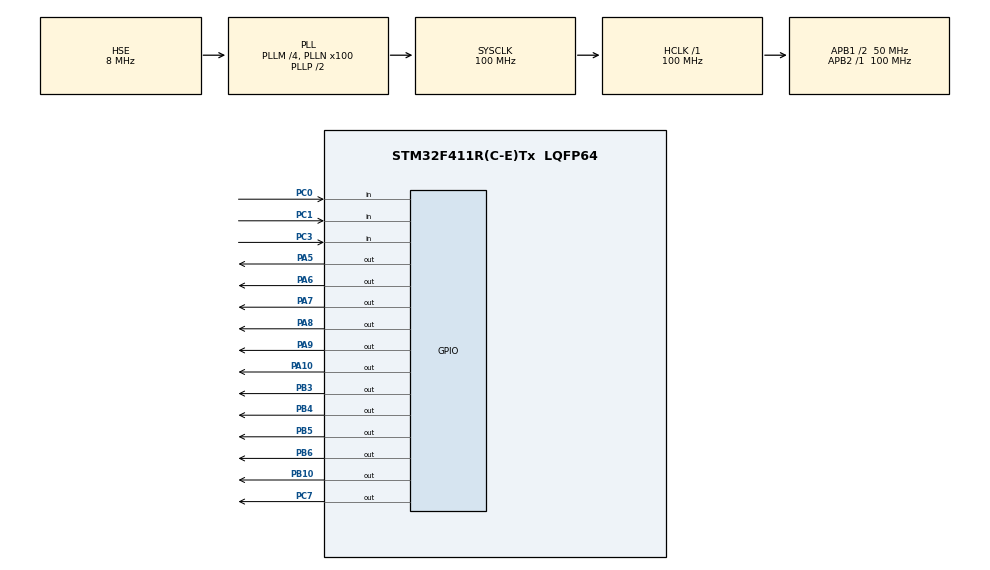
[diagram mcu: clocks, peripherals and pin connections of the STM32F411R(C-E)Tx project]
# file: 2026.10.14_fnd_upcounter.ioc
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Mcu.Family=STM32F4
Mcu.Name=STM32F411R(C-E)Tx
Mcu.Package=LQFP64
NVIC.PriorityGroup=NVIC_PRIORITYGROUP_4
PA10.Signal=GPIO_Output
PA5.Signal=GPIO_Output
PA6.Signal=GPIO_Output
PA7.Signal=GPIO_Output
PA8.Signal=GPIO_Output
PA9.Signal=GPIO_Output
PB10.Signal=GPIO_Output
PB3.Signal=GPIO_Output
PB4.Signal=GPIO_Output
PB5.Signal=GPIO_Output
PB6.Signal=GPIO_Output
PC0.Signal=GPIO_Input
PC1.Signal=GPIO_Input
PC3.Signal=GPIO_Input
PC7.Signal=GPIO_Output
PH0\ -\ OSC_IN.Mode=HSE-External-Oscillator
PH0\ -\ OSC_IN.Signal=RCC_OSC_IN
PH1\ -\ OSC_OUT.Mode=HSE-External-Oscillator
PH1\ -\ OSC_OUT.Signal=RCC_OSC_OUT
ProjectManager.HeapSize=0x200
ProjectManager.StackSize=0x400
ProjectManager.TargetToolchain=STM32CubeIDE
RCC.48MHZClocksFreq_Value=50000000
RCC.AHBFreq_Value=100000000
RCC.APB1CLKDivider=RCC_HCLK_DIV2
RCC.APB1Freq_Value=50000000
RCC.APB1TimFreq_Value=100000000
RCC.APB2Freq_Value=100000000
RCC.APB2TimFreq_Value=100000000
RCC.CortexFreq_Value=100000000
RCC.HCLKFreq_Value=100000000
RCC.HSE_VALUE=8000000
RCC.HSI_VALUE=16000000
RCC.LSE_VALUE=32768
RCC.PLLM=4
RCC.PLLN=100
RCC.PLLSourceVirtual=RCC_PLLSOURCE_HSE
RCC.SYSCLKFreq_VALUE=100000000
RCC.SYSCLKSource=RCC_SYSCLKSOURCE_PLLCLK
RCC.VCOOutputFreq_Value=200000000
board=custom

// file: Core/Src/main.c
/* USER CODE BEGIN Header */
/**
 ******************************************************************************
 * @file           : main.c
 * @brief          : Main program body
 ******************************************************************************
 * @attention
 *
 * Copyright (c) 2026 STMicroelectronics.
 * All rights reserved.
 *
 * This software is licensed under terms that can be found in the LICENSE file
 * in the root directory of this software component.
 * If no LICENSE file comes with this software, it is provided AS-IS.
 *
 ******************************************************************************
 */
/* USER CODE END Header */
#include "main.h"

/* USER CODE BEGIN Includes */
#include "driver/fnd/fnd.h"
/* USER CODE END Includes */

/* USER CODE BEGIN PTD */
enum {RUN, STOP, CLEAR};
/* USER CODE END PTD */

/* USER CODE BEGIN PD */
#define BTN1_GPIO	GPIOC
#define BTN1_PIN	GPIO_PIN_0
#define BTN2_GPIO	GPIOC
#define BTN2_PIN	GPIO_PIN_1
#define BTN3_GPIO	GPIOC
#define BTN3_PIN	GPIO_PIN_3
/* USER CODE END PD */

void SystemClock_Config(void);
static void MX_GPIO_Init(void);

/* USER CODE BEGIN 0 */
int state = STOP;
uint16_t counter = 0;
uint32_t prevTime = 0; // HAL_GetTick이 uint32_t 이므로 매칭하기 위해

void run_state(void)
{
	if (HAL_GPIO_ReadPin(BTN1_GPIO, BTN1_PIN) == 0) {
		state = STOP;
	}
	fnd_show_number(counter);

	if (HAL_GetTick() - prevTime > 100)
	{
		prevTime = HAL_GetTick();
		if (counter==9999) counter = 0;
		else counter++;
	}
}
void stop_state(void)
{
	if (HAL_GPIO_ReadPin(BTN1_GPIO, BTN1_PIN) == 0) {
		state = RUN;
	}
	else if (HAL_GPIO_ReadPin(BTN2_GPIO, BTN2_PIN) == 0) {
		state = CLEAR;
	}
	fnd_show_number(counter);
}
void clear_state(void)
{
	counter = 0;
	state = STOP;
}
/* USER CODE END 0 */

int main(void)
{

  /* MCU Configuration--------------------------------------------------------*/

  /* Reset of all peripherals, Initializes the Flash interface and the Systick. */
  HAL_Init();

  /* Configure the system clock */
  SystemClock_Config();

  /* Initialize all configured peripherals */
  MX_GPIO_Init();

  /* Infinite loop */
  /* USER CODE BEGIN WHILE */
	while (1)
	{
		switch (state)
		{
		case RUN:
			run_state();
			break;
		case STOP:
			stop_state();
			break;
		case CLEAR:
			clear_state();
			break;
		default:
			stop_state();
			break;
		}
	}
    /* USER CODE END WHILE */

}

void SystemClock_Config(void)
{
  RCC_OscInitTypeDef RCC_OscInitStruct = {0};
  RCC_ClkInitTypeDef RCC_ClkInitStruct = {0};

  /** Configure the main internal regulator output voltage
  */
  __HAL_RCC_PWR_CLK_ENABLE();
  __HAL_PWR_VOLTAGESCALING_CONFIG(PWR_REGULATOR_VOLTAGE_SCALE1);

  /** Initializes the RCC Oscillators according to the specified parameters
  * in the RCC_OscInitTypeDef structure.
  */
  RCC_OscInitStruct.OscillatorType = RCC_OSCILLATORTYPE_HSE;
  RCC_OscInitStruct.HSEState = RCC_HSE_ON;
  RCC_OscInitStruct.PLL.PLLState = RCC_PLL_ON;
  RCC_OscInitStruct.PLL.PLLSource = RCC_PLLSOURCE_HSE;
  RCC_OscInitStruct.PLL.PLLM = 4;
  RCC_OscInitStruct.PLL.PLLN = 100;
  RCC_OscInitStruct.PLL.PLLP = RCC_PLLP_DIV2;
  RCC_OscInitStruct.PLL.PLLQ = 4;
  if (HAL_RCC_OscConfig(&RCC_OscInitStruct) != HAL_OK)
  {
    Error_Handler();
  }

  /** Initializes the CPU, AHB and APB buses clocks
  */
  RCC_ClkInitStruct.ClockType = RCC_CLOCKTYPE_HCLK|RCC_CLOCKTYPE_SYSCLK
                              |RCC_CLOCKTYPE_PCLK1|RCC_CLOCKTYPE_PCLK2;
  RCC_ClkInitStruct.SYSCLKSource = RCC_SYSCLKSOURCE_PLLCLK;
  RCC_ClkInitStruct.AHBCLKDivider = RCC_SYSCLK_DIV1;
  RCC_ClkInitStruct.APB1CLKDivider = RCC_HCLK_DIV2;
  RCC_ClkInitStruct.APB2CLKDivider = RCC_HCLK_DIV1;

  if (HAL_RCC_ClockConfig(&RCC_ClkInitStruct, FLASH_LATENCY_3) != HAL_OK)
  {
    Error_Handler();
  }
}

static void MX_GPIO_Init(void)
{
  GPIO_InitTypeDef GPIO_InitStruct = {0};

  /* GPIO Ports Clock Enable */
  __HAL_RCC_GPIOH_CLK_ENABLE();
  __HAL_RCC_GPIOC_CLK_ENABLE();
  __HAL_RCC_GPIOA_CLK_ENABLE();
  __HAL_RCC_GPIOB_CLK_ENABLE();

  /*Configure GPIO pin Output Level */
  HAL_GPIO_WritePin(GPIOA, GPIO_PIN_5|GPIO_PIN_6|GPIO_PIN_7|GPIO_PIN_8
                          |GPIO_PIN_9|GPIO_PIN_10, GPIO_PIN_RESET);

  /*Configure GPIO pin Output Level */
  HAL_GPIO_WritePin(GPIOB, GPIO_PIN_10|GPIO_PIN_3|GPIO_PIN_4|GPIO_PIN_5
                          |GPIO_PIN_6, GPIO_PIN_RESET);

  /*Configure GPIO pin Output Level */
  HAL_GPIO_WritePin(GPIOC, GPIO_PIN_7, GPIO_PIN_RESET);

  /*Configure GPIO pins : PC0 PC1 PC3 */
  GPIO_InitStruct.Pin = GPIO_PIN_0|GPIO_PIN_1|GPIO_PIN_3;
  GPIO_InitStruct.Mode = GPIO_MODE_INPUT;
  GPIO_InitStruct.Pull = GPIO_NOPULL;
  HAL_GPIO_Init(GPIOC, &GPIO_InitStruct);

  /*Configure GPIO pins : PA5 PA6 PA7 PA8
                           PA9 PA10 */
  GPIO_InitStruct.Pin = GPIO_PIN_5|GPIO_PIN_6|GPIO_PIN_7|GPIO_PIN_8
                          |GPIO_PIN_9|GPIO_PIN_10;
  GPIO_InitStruct.Mode = GPIO_MODE_OUTPUT_PP;
  GPIO_InitStruct.Pull = GPIO_NOPULL;
  GPIO_InitStruct.Speed = GPIO_SPEED_FREQ_LOW;
  HAL_GPIO_Init(GPIOA, &GPIO_InitStruct);

  /*Configure GPIO pins : PB10 PB3 PB4 PB5
                           PB6 */
  GPIO_InitStruct.Pin = GPIO_PIN_10|GPIO_PIN_3|GPIO_PIN_4|GPIO_PIN_5
                          |GPIO_PIN_6;
  GPIO_InitStruct.Mode = GPIO_MODE_OUTPUT_PP;
  GPIO_InitStruct.Pull = GPIO_NOPULL;
  GPIO_InitStruct.Speed = GPIO_SPEED_FREQ_LOW;
  HAL_GPIO_Init(GPIOB, &GPIO_InitStruct);

  /*Configure GPIO pin : PC7 */
  GPIO_InitStruct.Pin = GPIO_PIN_7;
  GPIO_InitStruct.Mode = GPIO_MODE_OUTPUT_PP;
  GPIO_InitStruct.Pull = GPIO_NOPULL;
  GPIO_InitStruct.Speed = GPIO_SPEED_FREQ_LOW;
  HAL_GPIO_Init(GPIOC, &GPIO_InitStruct);

}

void Error_Handler(void)
{
	__disable_irq();
	while (1)
	{
	}
}
